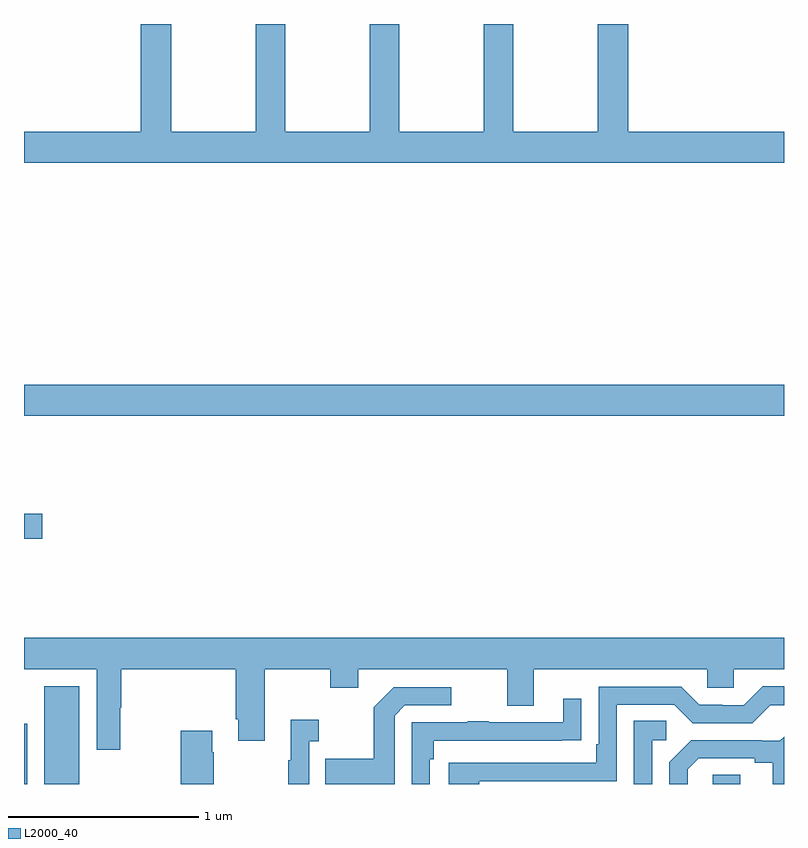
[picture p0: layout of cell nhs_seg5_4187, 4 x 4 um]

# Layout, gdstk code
import gdstk
lib = gdstk.Library(unit=1e-6, precision=1e-09)
def R(c, l, rs):  # rectangles x0, y0, x1, y1
    for r in rs: c.add(gdstk.rectangle(r[:2], r[2:], *l))
def P(c, l, *ps):  # polygons
    for p in ps: c.add(gdstk.Polygon(p, *l))
L2000_40 = (2000, 40)

nhs_seg5_4187 = lib.new_cell('nhs_seg5_4187')
R(nhs_seg5_4187, L2000_40, [(357,878.799,357.018,879.117), (357.107,878.799,357.292,879.313), (360.624,878.799,360.769,878.849), (357,880.091,357.097,880.221), (357,880.736,361,880.9)])
P(nhs_seg5_4187, L2000_40, [(361,882.232),(360.179,882.232),(360.179,882.799),(360.019,882.799),(360.019,882.232),(359.574,882.232),(359.574,882.799),(359.419,882.799),(359.419,882.232),(358.974,882.232),(358.974,882.799),(358.819,882.799),(358.819,882.232),(358.374,882.232),(358.374,882.799),(358.219,882.799),(358.219,882.232),(357.774,882.232),(357.774,882.799),(357.614,882.799),(357.614,882.232),(357,882.232),(357,882.068),(361,882.068)],
  [(357.507,879.2),(357.512,879.2),(357.512,879.404),(358.115,879.404),(358.115,879.139),(358.127,879.139),(358.127,879.027),(358.267,879.027),(358.267,879.404),(358.612,879.404),(358.612,879.305),(358.759,879.305),(358.759,879.404),(359.543,879.404),(359.543,879.21),(359.683,879.21),(359.683,879.404),(360.597,879.404),(360.597,879.306),(360.735,879.306),(360.735,879.404),(361,879.404),(361,879.568),(357,879.568),(357,879.404),(357.383,879.404),(357.383,878.979),(357.507,878.979)],
  [(359.396,878.814),(360.12,878.814),(360.12,879.216),(360.423,879.216),(360.519,879.12),(360.834,879.12),(360.927,879.213),(361,879.213),(361,879.313),(360.889,879.313),(360.789,879.213),(360.674,879.213),(360.674,879.216),(360.555,879.216),(360.459,879.312),(360.024,879.312),(360.024,879.007),(360.011,879.007),(360.011,878.91),(359.235,878.91),(359.235,878.799),(359.396,878.799)],
  [(358.95,879.159),(359.004,879.213),(359.248,879.213),(359.248,879.309),(358.947,879.309),(358.842,879.203),(358.842,878.931),(358.585,878.931),(358.585,878.799),(358.95,878.799)],
  [(359.136,878.93),(359.156,878.93),(359.156,879.027),(359.831,879.027),(359.831,879.028),(359.933,879.028),(359.933,879.247),(359.837,879.247),(359.837,879.123),(359.447,879.123),(359.447,879.128),(359.335,879.128),(359.335,879.123),(359.04,879.123),(359.04,878.799),(359.136,878.799)],
  [(358.5,879.023),(358.552,879.023),(358.552,879.136),(358.403,879.136),(358.403,878.923),(358.392,878.923),(358.392,878.799),(358.5,878.799)],
  [(360.306,879.03),(360.379,879.03),(360.379,879.131),(360.21,879.131),(360.21,878.799),(360.306,878.799)],
  [(357.999,878.966),(357.991,878.966),(357.991,879.079),(357.824,879.079),(357.824,878.799),(357.999,878.799)],
  [(360.493,878.877),(360.55,878.934),(360.845,878.934),(360.845,878.912),(360.941,878.912),(360.941,878.799),(361,878.799),(361,879.049),(360.978,879.027),(360.884,879.027),(360.884,879.03),(360.512,879.03),(360.396,878.914),(360.396,878.799),(360.493,878.799)])

lib.write_gds('nhs_seg5_4187.gds')
